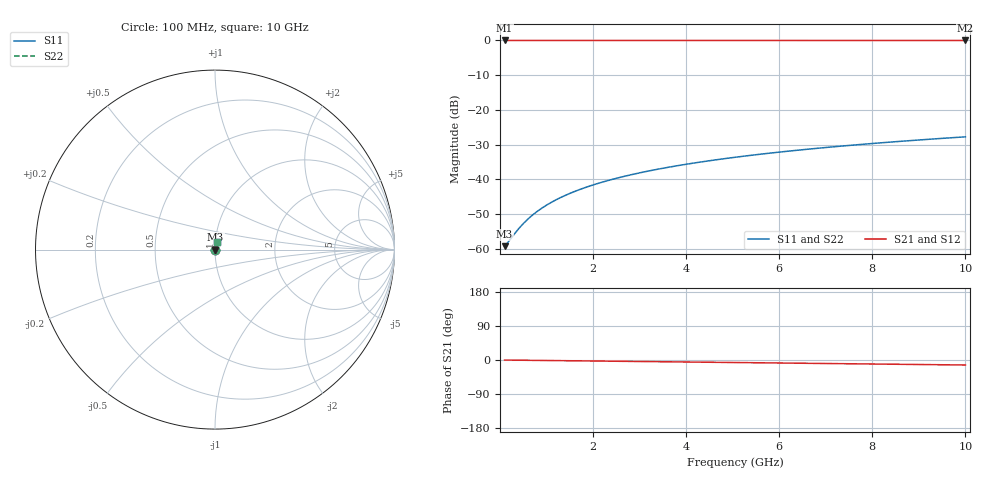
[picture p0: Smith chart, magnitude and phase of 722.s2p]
# Hz S RI R 50.00
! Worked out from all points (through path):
!   100 points, 100 MHz to 10 GHz, reference 50 ohm
!   highest |S21| = -0.01 dB at 100 MHz (marker M1); lowest = 0.0 dB at 10 GHz (marker M2)
!   group delay of S21, straight-line fit = 3.67 ps
!   lowest |S11| = -59.2 dB at 100 MHz (marker M3), VSWR 1.00, Z = 50.1 + j0.0411 ohm
!   |S11| at or under -10 dB: start of sweep to end of sweep
!   |S22| runs from -59.2 to -27.8 dB; largest |S21 - S12| = 0
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1e8  0.00101 0.00041  0.999 -0.00229  0.999 -0.00229  0.00101 0.00041
2e8  0.00102 0.00082  0.999 -0.00459  0.999 -0.00459  0.00102 0.00082
4e8  0.00104 0.00164  0.9989 -0.00918  0.9989 -0.00918  0.00104 0.00164
5e8  0.00105 0.00205  0.9989 -0.0115  0.9989 -0.0115  0.00105 0.00205
6e8  0.00106 0.00246  0.9989 -0.0138  0.9989 -0.0138  0.00106 0.00246
7e8  0.00108 0.00287  0.9988 -0.0161  0.9988 -0.0161  0.00108 0.00287
8e8  0.00109 0.00328  0.9988 -0.0184  0.9988 -0.0184  0.00109 0.00328
1e9  0.00113 0.0041  0.9987 -0.0229  0.9987 -0.0229  0.00113 0.0041
1.2e9  0.00117 0.00492  0.9985 -0.0275  0.9985 -0.0275  0.00117 0.00492
1.5e9  0.00125 0.00614  0.9983 -0.0344  0.9983 -0.0344  0.00125 0.00614
1.8e9  0.00135 0.00737  0.998 -0.0413  0.998 -0.0413  0.00135 0.00737
2.1e9  0.00146 0.00859  0.9977 -0.0482  0.9977 -0.0482  0.00146 0.00859
2.5e9  0.00164 0.0102  0.9972 -0.0573  0.9972 -0.0573  0.00164 0.0102
2.9e9  0.00184 0.0118  0.9966 -0.0665  0.9966 -0.0665  0.00184 0.0118
3.4e9  0.00214 0.0139  0.9957 -0.078  0.9957 -0.078  0.00214 0.0139
4.2e9  0.00271 0.0171  0.9941 -0.0963  0.9941 -0.0963  0.00271 0.0171
5.1e9  0.0035 0.0207  0.9918 -0.1169  0.9918 -0.1169  0.0035 0.0207
5.9e9  0.00433 0.0239  0.9893 -0.1352  0.9893 -0.1352  0.00433 0.0239
6.7e9  0.00527 0.027  0.9866 -0.1534  0.9866 -0.1534  0.00527 0.027
7.5e9  0.00633 0.0301  0.9835 -0.1716  0.9835 -0.1716  0.00633 0.0301
8.4e9  0.00766 0.0336  0.9795 -0.1921  0.9795 -0.1921  0.00766 0.0336
1e10  0.0104 0.0396  0.9715 -0.2282  0.9715 -0.2282  0.0104 0.0396
